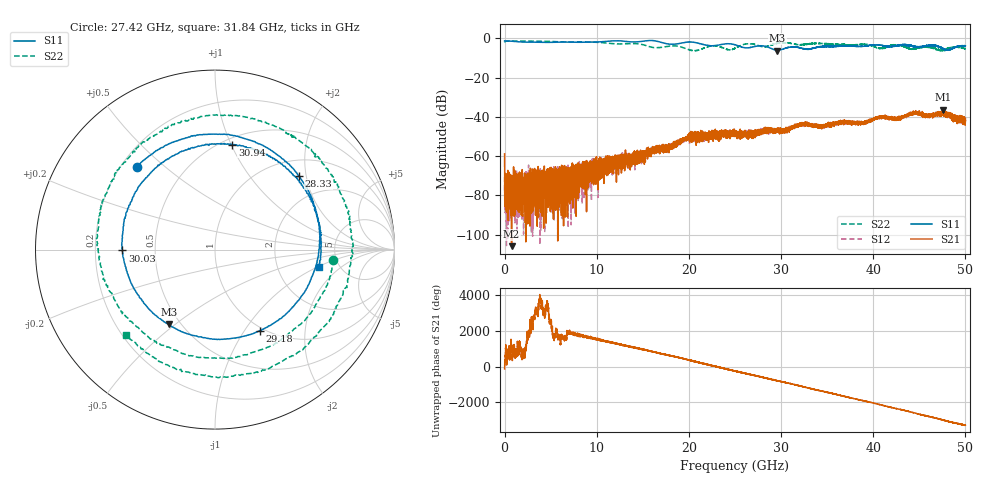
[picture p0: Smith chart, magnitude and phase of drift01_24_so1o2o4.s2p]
!Created with skrf (http://scikit-rf.org).
# Hz S RI R 50.0
!freq ReS11 ImS11 ReS21 ImS21 ReS12 ImS12 ReS22 ImS22
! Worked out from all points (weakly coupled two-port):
!   10001 points, 300 kHz to 50 GHz, reference 50 ohm
!   highest |S21| = -36.45 dB at 47.56 GHz (marker M1); lowest = -105.9 dB at 755.3 MHz (marker M2)
!   lowest |S11| = -6.2 dB at 29.61 GHz (marker M3), VSWR 2.91, Z = 21.7 - j23.6 ohm
!   |S11| at or under -10 dB: nowhere
!   |S22| runs from -6.5 to -1.4 dB; largest |S21 - S12| = 0.0039
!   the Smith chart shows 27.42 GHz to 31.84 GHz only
!   S11 on the Smith chart (normalised r, x): 27.42 GHz: 0.26, +0.41; 28.33 GHz: 1.35, +1.82; 29.18 GHz: 0.95, -1.18; 30.03 GHz: 0.32, -0.00; 30.94 GHz: 0.56, +1.01; 31.84 GHz: 3.53, -1.01
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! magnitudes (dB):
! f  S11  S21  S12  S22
! 300 kHz  -1.3  -58.9  -70.5  -2.1
! 255.3 MHz  -1.4  -77.2  -76.2  -1.4
! 755.3 MHz  -1.5  -105.9  -87.7  -1.5
! 6.045 GHz  -1.9  -71.3  -76.7  -1.8
! 6.96 GHz  -1.9  -70.6  -74.7  -1.9
! 8.335 GHz  -2.0  -67.3  -68.5  -1.8
! 16.67 GHz  -1.6  -57.1  -57.0  -4.8
! 18.62 GHz  -2.9  -53.4  -54.1  -3.9
! 20.37 GHz  -2.0  -49.0  -48.7  -6.3
! 22.6 GHz  -3.8  -48.9  -49.9  -3.8
! 25 GHz  -3.3  -48.6  -47.7  -5.1
! 27.42 GHz  -3.9  -47.4  -48.4  -3.6
! 28.33 GHz  -4.1  -47.7  -47.2  -4.3
! 29.18 GHz  -5.7  -46.6  -46.4  -3.1
! 29.61 GHz  -6.2  -47.5  -47.3  -2.5
! 30.03 GHz  -5.7  -46.9  -47.4  -2.3
! 30.94 GHz  -4.5  -46.7  -45.4  -2.5
! 31.84 GHz  -4.6  -45.3  -44.7  -3.3
! 33.34 GHz  -5.3  -43.9  -44.3  -2.7
! 41.67 GHz  -4.3  -40.3  -40.6  -4.2
! 47.56 GHz  -5.3  -36.5  -38.2  -5.6
! 50 GHz  -3.9  -42.2  -40.7  -5.3
